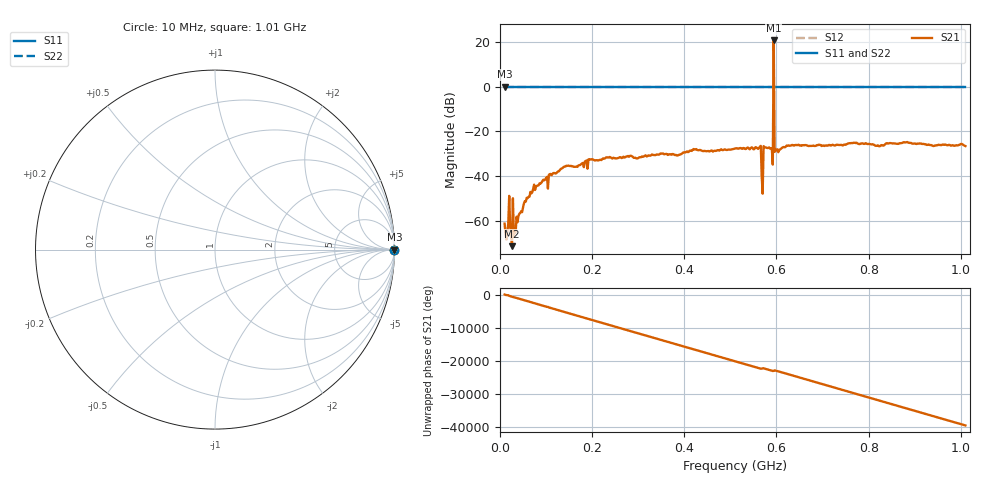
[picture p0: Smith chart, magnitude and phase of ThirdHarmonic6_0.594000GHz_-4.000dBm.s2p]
! 8/15/2025 7:18:30 PM
! C:\ANRITSUVNA\TEMP\TEMP.S2P
! CHANNEL.1
! TR.MEASUREMENT
! RAW.DATA
! RF.CORRECTION.OFF
! AVERAGING.OFF
! IF.BANDWIDTH: 5KHZ
! SWEEPTYPE:  FREQ.SWEEP(Linear)
! Reference Plane Port Info
! PORT:  PORT1  PORT2
! DISTANCE:  0  m  0  m
! TIME:  0  s  0  s
! PHASE.OFFSET:  0  deg.  0  deg.
! LOSS:  0  dB  0  dB
! REF.LOSS:  0  dB  0  dB
! REF.FREQ:  0  Hz  0  Hz
! Power Info
! POWER:  -20  dBm  -20  dBm
! EFF.POWER:  -20  dBm  -20  dBm
! SOURCE.ATTEN:  0  dB  0  dB
! TEST.ATTEN:  0  dB  0  dB
# GHZ S RI R 50.0
! FREQ.GHZ  S11RE  S11IM  S21RE  S21IM  S12RE  S12IM  S22RE  S22IM
!; PortSelection: Port_12
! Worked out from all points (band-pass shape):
!   501 points, 10 MHz to 1.01 GHz, reference 50 ohm
!   highest |S21| = 20.57 dB at 594 MHz (marker M1); lowest = -71.3 dB at 26 MHz (marker M2)
!   |S21| within 3 dB of the highest: 593.8917 MHz to 594.1206 MHz (228.9 kHz wide, 0.0385 % of centre)
!   lowest |S11| = 0.0 dB at 10 MHz (marker M3)
!   |S11| at or under -10 dB: nowhere
!   |S22| runs from 0.0 to 0.0 dB; largest |S21 - S12| = 11
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0.01  1 0  -0.000811 0.000317  1 0  1 0
0.024  1 0  0.000379 -0.000367  1 0  1 0
0.026  1 0  -0.00019 -0.000196  1 0  1 0
0.034  1 0  0.000112 -0.000545  1 0  1 0
0.054  1 0  -0.00275 -0.000187  1 0  1 0
0.076  1 0  0.00491 2.6e-06  1 0  1 0
0.14  1 0  0.00357 -0.016  1 0  1 0
0.178  1 0  -0.019 -0.00315  1 0  1 0
0.344  1 0  0.029 -0.00826  1 0  1 0
0.51  1 0  -0.0367 0.0186  1 0  1 0
0.562  1 0  -0.0294 -0.0305  1 0  1 0
0.566  1 0  0.0214 0.0422  1 0  1 0
0.572  1 0  -0.0465 0.00143  1 0  1 0
0.576  1 0  0.0424 0.0108  1 0  1 0
0.588  1 0  -0.00935 -0.0409  1 0  1 0
0.59  1 0  -0.0413 0.00382  1 0  1 0
0.594  1 0  -5.622 9.084  1 0  1 0
0.598  1 0  -0.0342 -0.0194  1 0  1 0
0.6  1 0  -0.0272 0.026  1 0  1 0
0.678  1 0  -0.0271 -0.039  1 0  1 0
0.844  1 0  0.0445 0.0309  1 0  1 0
1.01  1 0  -0.0466 -0.00479  1 0  1 0
